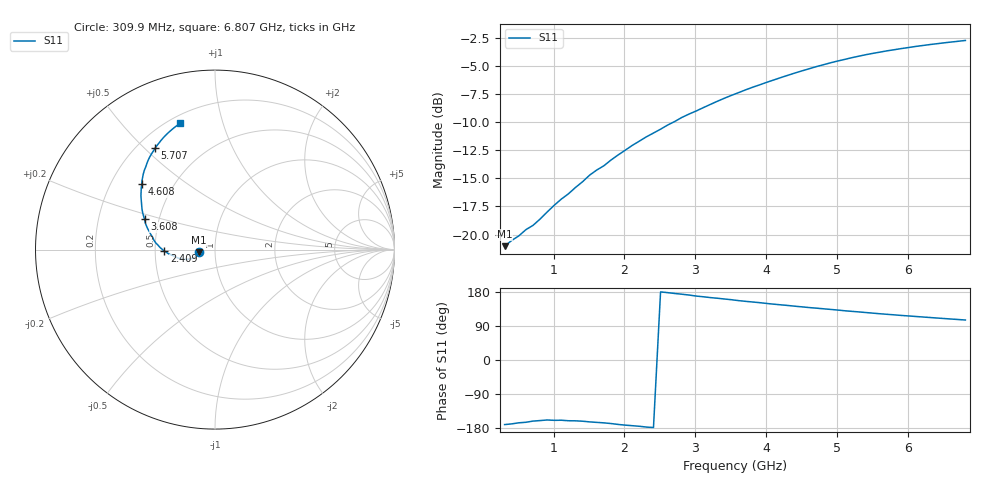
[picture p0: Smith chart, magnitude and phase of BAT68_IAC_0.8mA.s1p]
! Infineon Technologies  Discrete & RF Semiconductors
! BAT68
! IAC = 0.8 mA
! One-Port S-Parameters
# Hz  S  MA  R  50
!f  S11
!Hz  Mag  Ang
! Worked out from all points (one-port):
!   66 points, 309.9 MHz to 6.807 GHz, reference 50 ohm
!   lowest |S11| = -21.0 dB at 309.9 MHz (marker M1), VSWR 1.19, Z = 41.9 - j1.25 ohm
!   |S11| at or under -10 dB: start of sweep to 2.691 GHz
!   S11 on the Smith chart (normalised r, x): 309.9 MHz: 0.84, -0.02; 2.409 GHz: 0.56, -0.01; 3.608 GHz: 0.42, +0.17; 4.608 GHz: 0.33, +0.34; 5.707 GHz: 0.27, +0.54; 6.807 GHz: 0.24, +0.73
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3.0985e8  0.08875 -170.4
4.098e8  0.0941 -168.6
5.0975e8  0.09858 -165.7
6.097e8  0.1051 -164.3
7.0965e8  0.1098 -161.2
9.0955e8  0.1259 -158.3
1.0095e9  0.1349 -159.2
1.2094e9  0.1517 -160.3
1.30935e9  0.1619 -160.5
1.50925e9  0.1837 -163.3
1.70915e9  0.2021 -165.9
1.8091e9  0.2144 -167.7
2.009e9  0.237 -171.9
2.4088e9  0.2828 -178.2
2.8086e9  0.3317 173.6
3.30835e9  0.3914 163.0
3.50825e9  0.4159 159.1
3.6082e9  0.4276 156.7
3.90805e9  0.4634 151.3
4.4078e9  0.5234 141.9
4.6077e9  0.5466 138.3
4.90755e9  0.5807 133.5
5.2074e9  0.6118 128.3
5.4073e9  0.6311 125.2
5.70715e9  0.6566 120.5
6.007e9  0.679 116.2
6.30685e9  0.6998 112.1
6.8066e9  0.7298 105.5
